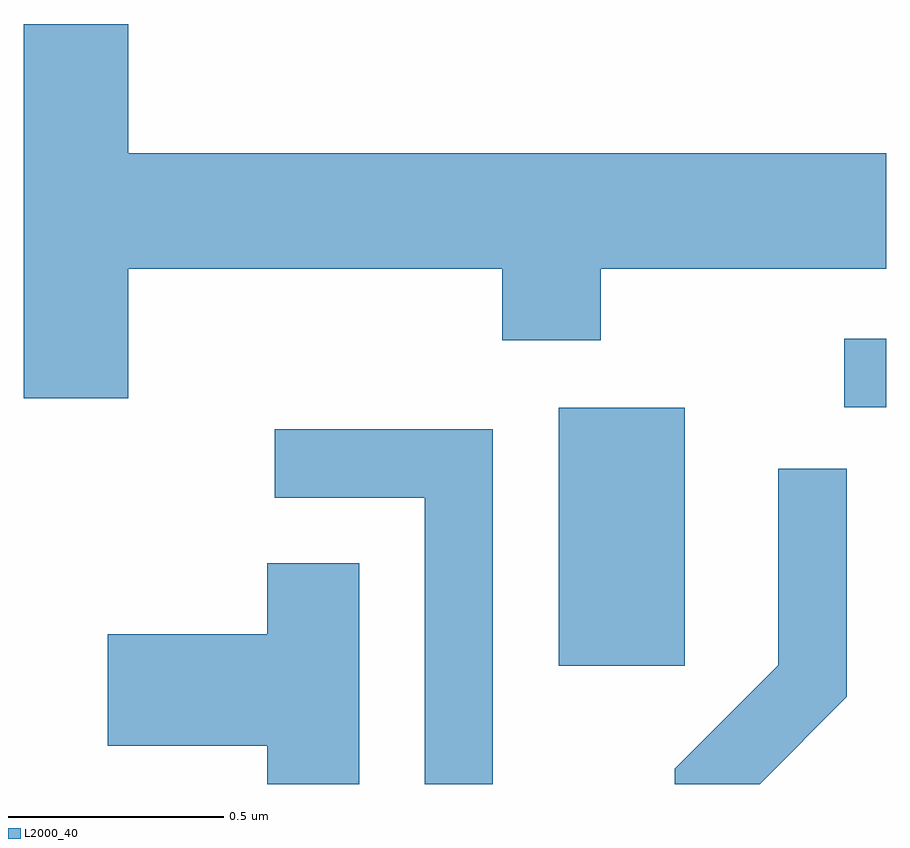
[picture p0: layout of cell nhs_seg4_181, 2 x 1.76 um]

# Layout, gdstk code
import gdstk
lib = gdstk.Library(unit=1e-6, precision=1e-09)
def R(c, l, rs):  # rectangles x0, y0, x1, y1
    for r in rs: c.add(gdstk.rectangle(r[:2], r[2:], *l))
def P(c, l, *ps):  # polygons
    for p in ps: c.add(gdstk.Polygon(p, *l))
L2000_40 = (2000, 40)

nhs_seg4_181 = lib.new_cell('nhs_seg4_181')
R(nhs_seg4_181, L2000_40, [(187.851,1298.256,188.144,1298.854), (188.513,1298.856,188.611,1299.014)])
P(nhs_seg4_181, L2000_40, [(186.854,1299.176),(187.721,1299.176),(187.721,1299.011),(187.949,1299.011),(187.949,1299.176),(188.611,1299.176),(188.611,1299.444),(186.854,1299.444),(186.854,1299.744),(186.611,1299.744),(186.611,1298.876),(186.854,1298.876)],
  [(187.699,1298.804),(187.193,1298.804),(187.193,1298.646),(187.541,1298.646),(187.541,1297.982),(187.699,1297.982)],
  [(188.519,1298.184),(188.519,1298.713),(188.361,1298.713),(188.361,1298.257),(188.121,1298.017),(188.121,1297.982),(188.317,1297.982)],
  [(187.389,1298.494),(187.176,1298.494),(187.176,1298.329),(186.806,1298.329),(186.806,1298.071),(187.176,1298.071),(187.176,1297.982),(187.389,1297.982)])

lib.write_gds('nhs_seg4_181.gds')
